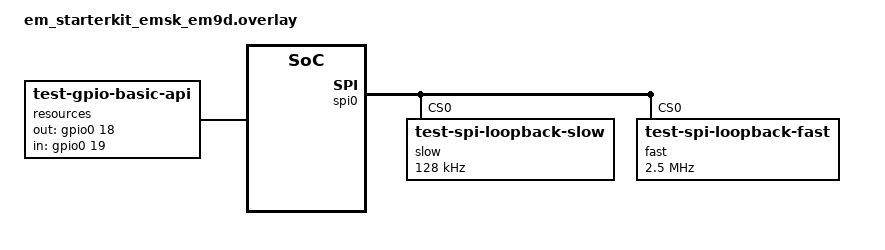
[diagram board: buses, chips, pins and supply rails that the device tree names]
/*
 * Copyright (c) 2022 Kumar Gala <galak@kernel.org>
 *
 * SPDX-License-Identifier: Apache-2.0
 */

&spi0 {
	slow@0 {
		compatible = "test-spi-loopback-slow";
		reg = <0>;
		spi-max-frequency = <128000>;
	};

	fast@0 {
		compatible = "test-spi-loopback-fast";
		reg = <0>;
		spi-max-frequency = <2500000>;
	};
};

/ {
	resources {
		compatible = "test-gpio-basic-api";
		out-gpios = <&gpio0 18 0>;
		in-gpios = <&gpio0 19 0>;
	};
};
